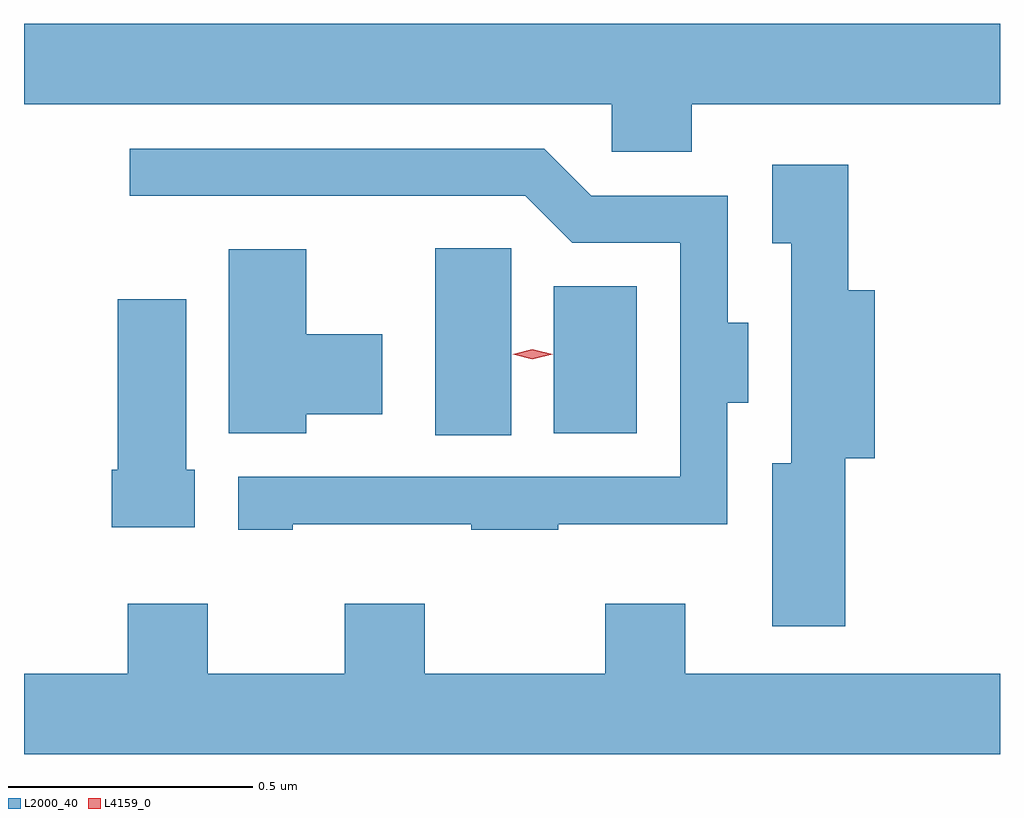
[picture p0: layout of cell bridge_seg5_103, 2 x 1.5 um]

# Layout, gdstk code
import gdstk
lib = gdstk.Library(unit=1e-6, precision=1e-09)
def R(c, l, rs):  # rectangles x0, y0, x1, y1
    for r in rs: c.add(gdstk.rectangle(r[:2], r[2:], *l))
def P(c, l, *ps):  # polygons
    for p in ps: c.add(gdstk.Polygon(p, *l))
L2000_40 = (2000, 40)
L4159_0 = (4159, 0)

bridge_seg5_103 = lib.new_cell('bridge_seg5_103')
R(bridge_seg5_103, L2000_40, [(538.511,877.393,538.666,877.776), (538.754,877.397,538.924,877.699)])
P(bridge_seg5_103, L2000_40, [(539.036,878.072),(539.668,878.072),(539.668,878.236),(537.668,878.236),(537.668,878.072),(538.872,878.072),(538.872,877.974),(539.036,877.974)],
  [(538.219,877.211),(538.585,877.211),(538.585,877.2),(538.763,877.2),(538.763,877.211),(539.109,877.211),(539.109,877.46),(539.152,877.46),(539.152,877.624),(539.11,877.624),(539.11,877.884),(538.83,877.884),(538.734,877.98),(537.885,877.98),(537.885,877.884),(538.695,877.884),(538.791,877.788),(539.013,877.788),(539.013,877.308),(538.107,877.308),(538.107,877.2),(538.219,877.2)],
  [(539.351,877.346),(539.411,877.346),(539.411,877.69),(539.357,877.69),(539.357,877.948),(539.201,877.948),(539.201,877.787),(539.24,877.787),(539.24,877.336),(539.201,877.336),(539.201,877.002),(539.351,877.002)],
  [(538.246,877.436),(538.402,877.436),(538.402,877.6),(538.246,877.6),(538.246,877.774),(538.088,877.774),(538.088,877.397),(538.246,877.397)],
  [(538.018,877.323),(538,877.323),(538,877.672),(537.86,877.672),(537.86,877.323),(537.848,877.323),(537.848,877.205),(538.018,877.205)],
  [(539.668,876.904),(539.023,876.904),(539.023,877.048),(538.859,877.048),(538.859,876.904),(538.489,876.904),(538.489,877.048),(538.325,877.048),(538.325,876.904),(538.045,876.904),(538.045,877.048),(537.881,877.048),(537.881,876.904),(537.668,876.904),(537.668,876.74),(539.668,876.74)])
P(bridge_seg5_103, L4159_0, [(538.71,877.549),(538.67,877.559),(538.67,877.559),(538.67,877.559),(538.71,877.569),(538.751,877.559),(538.751,877.559),(538.751,877.559)])

lib.write_gds('bridge_seg5_103.gds')
